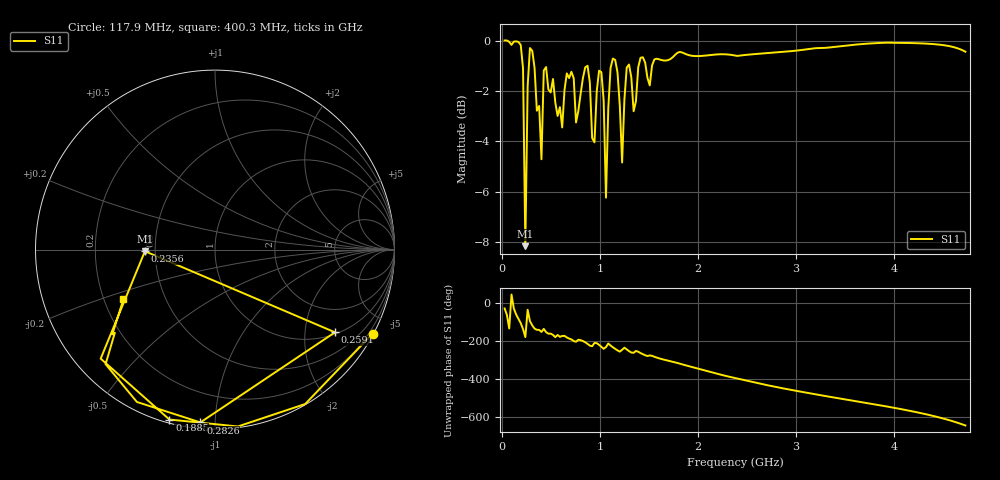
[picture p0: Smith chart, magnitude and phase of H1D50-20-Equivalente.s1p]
!Keysight Technologies N9923A: A.08.19
!Date: Thursday, 16 January 2020 11:30:00
!TimeZone: (GMT-03:00) Brasilia!Model: N9923A
!Serial: MY51491501
!GPS Latitude:
!GPS Longitude:
!GPS TimeStamp: 0001-01-01 00:00:00Z
!GPS Seconds Since Last Read: 0
!CHECKSUM:1078980270
!Correction: S11(ON U)
!S1P File: Measurement: S11:
# Hz S DB R 50
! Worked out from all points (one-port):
!   201 points, 23.74 MHz to 4.731 GHz, reference 50 ohm
!   lowest |S11| = -8.2 dB at 235.6 MHz (marker M1), VSWR 2.28, Z = 21.9 - j0.471 ohm
!   |S11| at or under -10 dB: nowhere
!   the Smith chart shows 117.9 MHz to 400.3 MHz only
!   S11 on the Smith chart (normalised r, x): 117.9 MHz: 0.04, -3.99; 188.5 MHz: 0.02, -0.77; 235.6 MHz: 0.44, -0.01; 259.1 MHz: 1.06, -2.86; 282.6 MHz: 0.03, -0.92; 400.3 MHz: 0.28, -0.24
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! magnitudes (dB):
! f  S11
! 23.74 MHz  0.0
! 117.9 MHz  0.0
! 188.5 MHz  -0.2
! 212 MHz  -1.1
! 235.6 MHz  -8.2
! 259.1 MHz  -1.8
! 282.6 MHz  -0.3
! 400.3 MHz  -4.7
! 423.9 MHz  -1.2
! 612.1 MHz  -3.4
! 659.2 MHz  -1.3
! 753.4 MHz  -3.3
! 871 MHz  -1.0
! 941.7 MHz  -4.0
! 1.012 GHz  -1.3
! 1.059 GHz  -6.2
! 1.106 GHz  -1.1
! 1.201 GHz  -2.6
! 1.224 GHz  -4.8
! 1.271 GHz  -1.1
! 1.342 GHz  -2.8
! 1.412 GHz  -0.7
! 1.789 GHz  -0.5
! 2.377 GHz  -0.6
! 2.966 GHz  -0.4
! 3.554 GHz  -0.2
! 4.143 GHz  -0.1
! 4.731 GHz  -0.4
